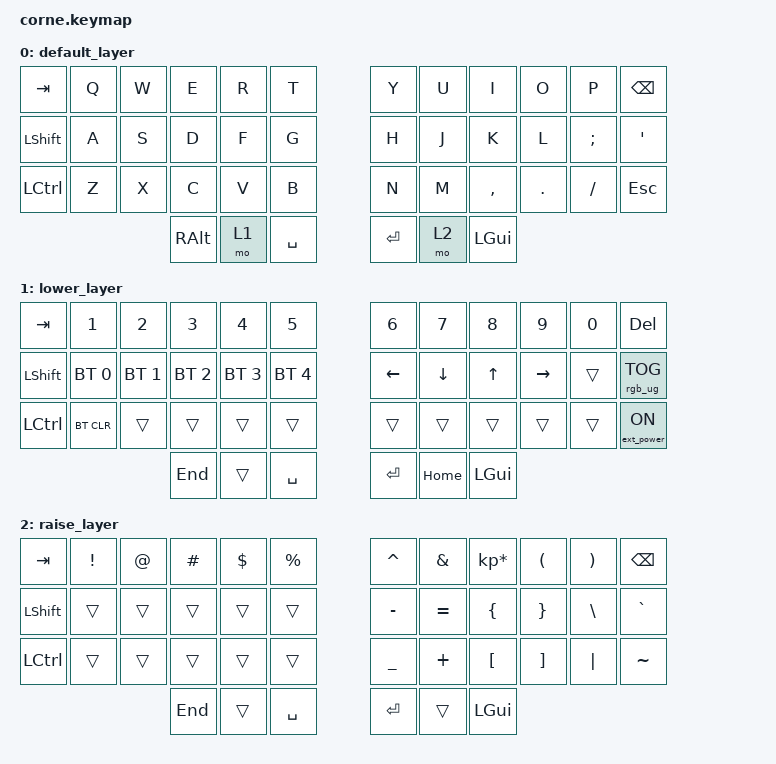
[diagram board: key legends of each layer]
/*
 * Copyright (c) 2020 The ZMK Contributors
 *
 * SPDX-License-Identifier: MIT
 */

#include <behaviors.dtsi>
#include <dt-bindings/zmk/keys.h>
#include <dt-bindings/zmk/bt.h>
#include <dt-bindings/zmk/outputs.h>
#include <dt-bindings/zmk/rgb.h>
#include <dt-bindings/zmk/ext_power.h>

/ {
        keymap {
                compatible = "zmk,keymap";

                default_layer {
                        // -----------------------------------------------------------------------------------------
                        // | TAB   |  Q  |  W  |  E   |  R  |  T  |        |  Y  |  U   |  I  |  O  |  P  | BKSP |
                        // | SHFT  |  A  |  S  |  D   |  F  |  G  |        |  H  |  J   |  K  |  L  |  ;  |  '   |
                        // | CTRL  |  Z  |  X  |  C   |  V  |  B  |        |  N  |  M   |  ,  |  .  |  /  | ESC  |
                        //                     | GUI | LWR | ENT |        | SPC | RSE  | ALT |
                        bindings = <
                        &kp TAB    &kp Q  &kp W &kp E     &kp R &kp T      &kp Y     &kp U  &kp I     &kp O   &kp P    &kp BSPC
                        &kp LSHFT  &kp A  &kp S &kp D     &kp F &kp G      &kp H     &kp J  &kp K     &kp L   &kp SEMI &kp SQT
                        &kp LCTRL  &kp Z  &kp X &kp C     &kp V &kp B      &kp N     &kp M  &kp COMMA &kp DOT &kp FSLH &kp ESC
                                                &kp RALT  &mo 1 &kp SPACE    &kp RET &mo 2  &kp LGUI 
                        >;
                };
                lower_layer {
                        // -----------------------------------------------------------------------------------------
                        // |  TAB |   1   |  2  |  3  |  4  |  5  |     |  6  |  7   |  8  |  9  |  0  | DEL     |
                        // | SHFT |  BT1  | BT2 | BT3 | BT4 | BT5 |     | LFT | DWN  |  UP | RGT |     | RGB_TOG |
                        // | GUI  | BTCLR |     |     |     |     |     |     |      |     |     |     | RGB_EFF |
                        //                      | GUI |     | SPC |     | ENT | HOME | END |
                        bindings = < 
                        &kp TAB     &kp N1       &kp N2       &kp N3       &kp N4       &kp N5         &kp N6     &kp N7     &kp N8 &kp N9    &kp N0 &kp DEL
                        &kp LSHFT   &bt BT_SEL 0 &bt BT_SEL 1 &bt BT_SEL 2 &bt BT_SEL 3 &bt BT_SEL 4   &kp LEFT   &kp DOWN   &kp UP &kp RIGHT &trans &rgb_ug RGB_TOG
                        &kp LCTRL   &bt BT_CLR   &trans       &trans       &trans       &trans         &trans     &trans     &trans &trans    &trans &ext_power EP_ON
                                                              &kp END     &trans       &kp SPACE        &kp RET  &kp HOME   &kp LGUI
                        >;
                };
 
                raise_layer {
                        // -----------------------------------------------------------------------------------------
                        // |  TAB |  !  |  @  |  #  |  $  |  %  |   |  ^  |  &  |  *  |  (  |  )  | BKSP |
                        // | CTRL |     |     |     |     |     |   |  -  |  =  |  [  |  ]  |  \  |  `   |
                        // | SHFT |     |     |     |     |     |   |  _  |  +  |  {  |  }  | "|" |  ~   |
                        //                    | GUI |     | SPC |   | ENT |     | ALT |
                        bindings = <
                        &kp  TAB  &kp EXCL &kp AT &kp HASH &kp DLLR &kp PRCNT   &kp CARET &kp AMPS  &kp KP_MULTIPLY &kp LPAR &kp RPAR &kp BSPC
                        &kp LSHFT &trans   &trans &trans    &trans   &trans      &kp MINUS &kp EQUAL &kp LBRC        &kp RBRC &kp BSLH &kp GRAVE
                        &kp LCTRL &trans   &trans &trans    &trans   &trans      &kp UNDER &kp PLUS  &kp LBKT        &kp RBKT &kp PIPE &kp TILDE
                                                   &kp END  &trans   &kp SPACE     &kp RET &trans    &kp LGUI
                        >;
                };
        };
};

&nice_view_spi {
    cs-gpios = <&pro_micro 0 GPIO_ACTIVE_HIGH>;
};
